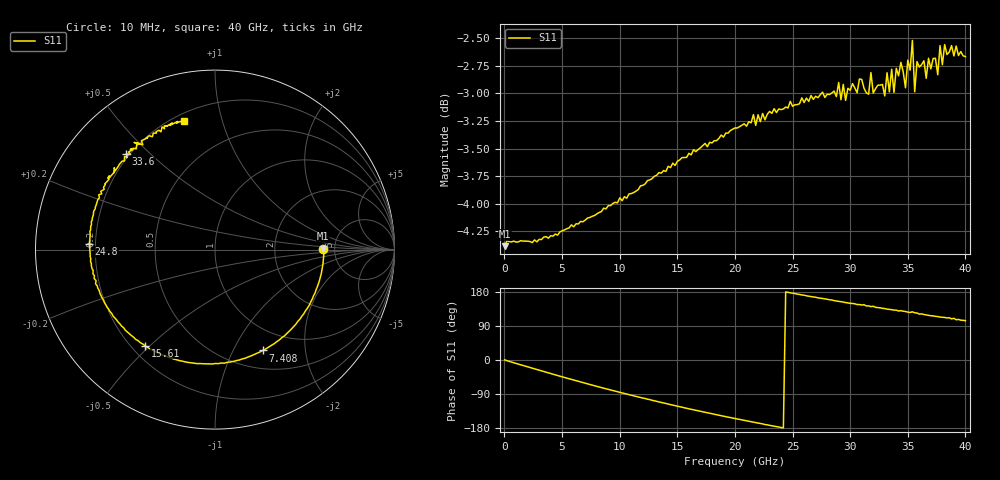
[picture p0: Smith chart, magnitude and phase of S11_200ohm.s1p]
!Agilent Technologies,N5227A,US51270434,A.10.00.00
!Agilent N5227A: A.10.00.00
!Date: Monday, March 30, 2026 11:35:38
!Correction: S11(Full 1 Port(1))
!S1P File: Measurement: S11:
# Hz S  dB  R 50
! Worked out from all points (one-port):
!   201 points, 10 MHz to 40 GHz, reference 50 ohm
!   lowest |S11| = -4.4 dB at 10 MHz (marker M1), VSWR 4.05, Z = 202 + j2.75 ohm
!   |S11| at or under -10 dB: nowhere
!   S11 on the Smith chart (normalised r, x): 10 MHz: 4.05, +0.06; 7.408 GHz: 0.72, -1.32; 15.61 GHz: 0.25, -0.48; 24.8 GHz: 0.18, +0.02; 33.6 GHz: 0.19, +0.42; 40 GHz: 0.24, +0.76
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1e7  -4.38 0.4
2.60935e9  -4.33 -23.4
5.00875e9  -4.24 -44.4
7.40815e9  -4.12 -64.6
1.00075e10  -3.95 -85.3
1.260685e10  -3.78 -104.4
1.500625e10  -3.61 -121.9
1.56061e10  -3.58 -126.1
2.0005e10  -3.31 -154.2
2.20045e10  -3.19 -166.6
2.48038e10  -3.07 177.5
2.500375e10  -3.12 176.3
2.76031e10  -2.99 162.4
3.00025e10  -2.97 149.4
3.2002e10  -3.00 141.8
3.36016e10  -2.78 132.9
3.48013e10  -2.95 128.0
3.500125e10  -2.70 126.5
3.52012e10  -2.79 125.5
3.540115e10  -2.52 127.1
3.56011e10  -2.98 124.5
3.580105e10  -2.71 124.1
3.6001e10  -2.76 121.1
3.860035e10  -2.62 111.6
3.88003e10  -2.57 108.6
3.900025e10  -2.66 110.0
3.92002e10  -2.57 106.2
4e10  -2.67 103.7
